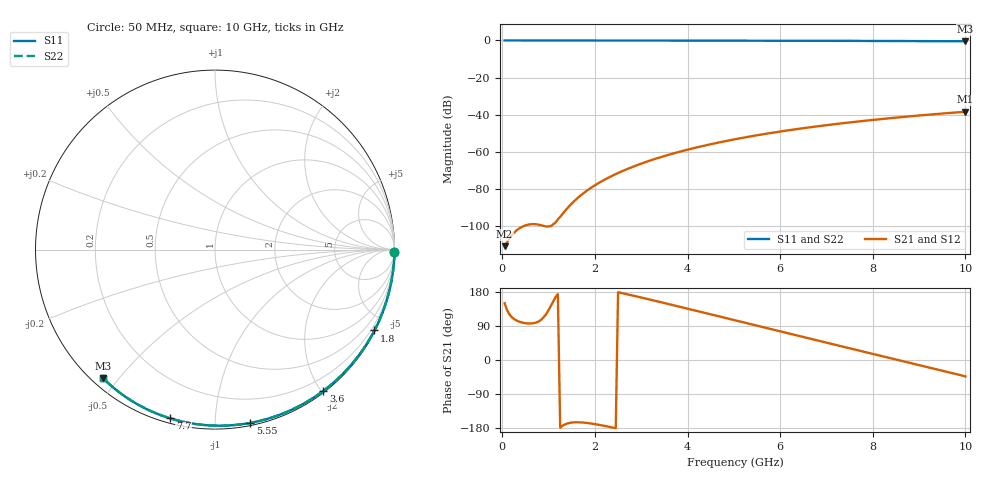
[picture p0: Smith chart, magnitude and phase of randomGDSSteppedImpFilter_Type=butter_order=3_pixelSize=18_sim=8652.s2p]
! freq	dB(S11)	phase(S11)	dB(S12)	phase(S12)
!  dB(S21)	phase(S21)	dB(S22)	phase(S22)
!S-par simulation data
#  GHz  S  DB  R 50
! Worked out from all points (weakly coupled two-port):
!   200 points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, 50 MHz to 10 GHz, reference 50 ohm
!   highest |S21| = -38.46 dB at 10 GHz (marker M1); lowest = -110.9 dB at 50 MHz (marker M2)
!   lowest |S11| = -0.4 dB at 10 GHz (marker M3), VSWR 38.79, Z = 1.55 - j22.7 ohm
!   |S11| at or under -10 dB: nowhere
!   |S22| runs from -0.4 to 0.0 dB; largest |S21 - S12| = 0
!   S11 on the Smith chart (normalised r, x): 50 MHz: open; 1.8 GHz: 0.04, -4.18; 3.6 GHz: 0.02, -2.02; 5.55 GHz: 0.02, -1.22; 7.7 GHz: 0.02, -0.77; 10 GHz: 0.03, -0.45
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0.05  -0.00 -0.8  -110.95 149.9  -110.95 149.9  -0.00 -0.8
0.9  -0.02 -13.6  -100.09 113.8  -100.09 113.8  -0.02 -13.6
1.75  -0.03 -26.2  -82.44 -165.2  -82.44 -165.2  -0.03 -26.2
1.8  -0.03 -26.9  -81.50 -165.8  -81.50 -165.8  -0.03 -26.9
1.85  -0.04 -27.6  -80.60 -166.5  -80.60 -166.5  -0.04 -27.6
1.9  -0.04 -28.3  -79.74 -167.3  -79.74 -167.3  -0.04 -28.3
2.05  -0.04 -30.5  -77.35 -170.2  -77.35 -170.2  -0.04 -30.5
2.25  -0.04 -33.4  -74.54 -174.8  -74.54 -174.8  -0.04 -33.4
2.45  -0.05 -36.3  -72.06 -179.9  -72.06 -179.9  -0.05 -36.3
2.65  -0.05 -39.2  -69.84 174.7  -69.84 174.7  -0.05 -39.2
3  -0.06 -44.2  -66.43 164.9  -66.43 164.9  -0.06 -44.2
3.4  -0.07 -49.8  -63.09 153.3  -63.09 153.3  -0.07 -49.8
3.6  -0.07 -52.6  -61.60 147.4  -61.60 147.4  -0.07 -52.6
4.3  -0.09 -62.1  -57.09 126.5  -57.09 126.5  -0.09 -62.1
5.05  -0.11 -72.1  -53.16 104.0  -53.16 104.0  -0.11 -72.1
5.55  -0.13 -78.5  -50.92 89.0  -50.92 89.0  -0.13 -78.5
6.1  -0.15 -85.5  -48.75 72.5  -48.75 72.5  -0.15 -85.5
6.7  -0.18 -92.9  -46.65 54.6  -46.65 54.6  -0.18 -92.9
7.7  -0.24 -104.9  -43.66 25.1  -43.66 25.1  -0.24 -104.9
8.35  -0.29 -112.4  -41.98 6.0  -41.98 6.0  -0.29 -112.4
9.15  -0.36 -121.6  -40.14 -17.6  -40.14 -17.6  -0.36 -121.6
10  -0.45 -131.2  -38.46 -43.3  -38.46 -43.3  -0.45 -131.2
